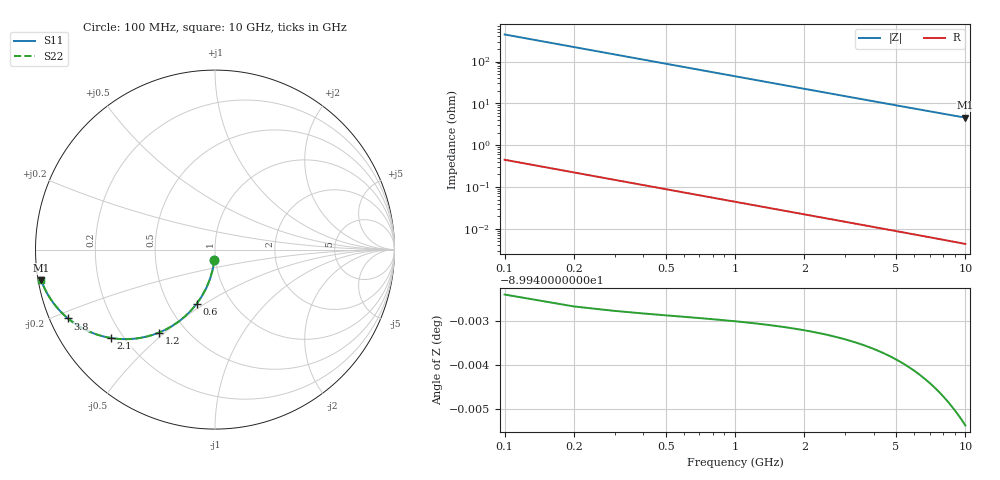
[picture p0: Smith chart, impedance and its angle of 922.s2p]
# Hz S RI R 50.00
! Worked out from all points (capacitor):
!   100 points, 100 MHz to 10 GHz, reference 50 ohm
!   read as one part in shunt: C = 3.58 pF near 100 MHz
!   lowest |Z| = 4.55 ohm at 10 GHz (marker M1)
!   S11 on the Smith chart (normalised r, x): 100 MHz: 0.99, -0.11; 600 MHz: 0.69, -0.46; 1.2 GHz: 0.36, -0.48; 2.1 GHz: 0.15, -0.36; 3.8 GHz: 0.05, -0.22; 10 GHz: 0.01, -0.09
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1e8  -0.0032 -0.056  0.9968 -0.056  0.9968 -0.056  -0.0032 -0.056
2e8  -0.0126 -0.1109  0.9874 -0.111  0.9874 -0.111  -0.0126 -0.1109
3e8  -0.0278 -0.1637  0.9722 -0.1639  0.9722 -0.1639  -0.0278 -0.1637
4e8  -0.0483 -0.2137  0.9517 -0.2139  0.9517 -0.2139  -0.0483 -0.2137
5e8  -0.0733 -0.26  0.9267 -0.2603  0.9267 -0.2603  -0.0733 -0.26
6e8  -0.1022 -0.3023  0.8978 -0.3026  0.8978 -0.3026  -0.1022 -0.3023
7e8  -0.1341 -0.3401  0.8659 -0.3405  0.8659 -0.3405  -0.1341 -0.3401
9e8  -0.2036 -0.402  0.7963 -0.4025  0.7963 -0.4025  -0.2036 -0.402
1.2e9  -0.3122 -0.4626  0.6878 -0.4632  0.6878 -0.4632  -0.3122 -0.4626
1.5e9  -0.4147 -0.4917  0.5853 -0.4926  0.5853 -0.4926  -0.4147 -0.4917
1.8e9  -0.5047 -0.499  0.4953 -0.5  0.4953 -0.5  -0.5047 -0.499
2.1e9  -0.5807 -0.4923  0.4193 -0.4935  0.4193 -0.4935  -0.5807 -0.4923
2.4e9  -0.6437 -0.4777  0.3562 -0.4791  0.3562 -0.4791  -0.6437 -0.4777
2.7e9  -0.6955 -0.4589  0.3044 -0.4605  0.3044 -0.4605  -0.6955 -0.4589
3e9  -0.738 -0.4383  0.2619 -0.4401  0.2619 -0.4401  -0.738 -0.4383
3.4e9  -0.7833 -0.4105  0.2167 -0.4125  0.2167 -0.4125  -0.7833 -0.4105
3.8e9  -0.8185 -0.3838  0.1815 -0.3861  0.1815 -0.3861  -0.8185 -0.3838
4.4e9  -0.8578 -0.3474  0.1421 -0.35  0.1421 -0.35  -0.8578 -0.3474
5.1e9  -0.89 -0.3108  0.1099 -0.3138  0.1099 -0.3138  -0.89 -0.3108
6.7e9  -0.933 -0.2475  0.067 -0.2515  0.067 -0.2515  -0.933 -0.2475
8.4e9  -0.9563 -0.2015  0.0437 -0.2065  0.0437 -0.2065  -0.9563 -0.2015
1e10  -0.9687 -0.1705  0.0312 -0.1765  0.0312 -0.1765  -0.9687 -0.1705
